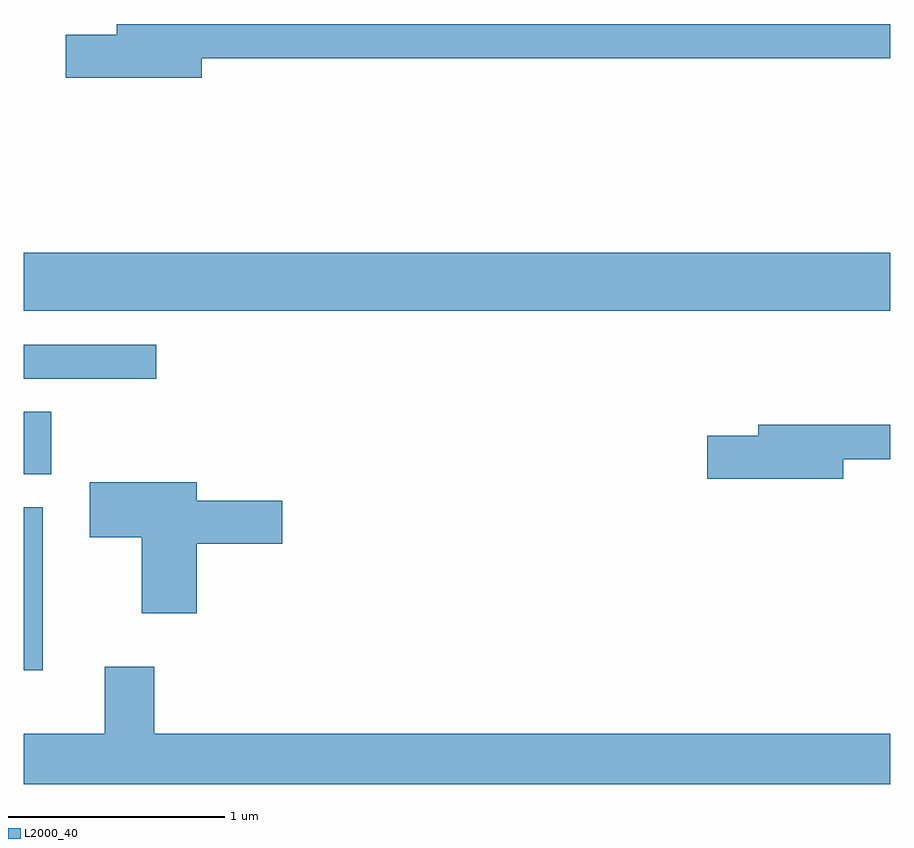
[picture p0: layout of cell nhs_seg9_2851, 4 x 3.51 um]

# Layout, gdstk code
import gdstk
lib = gdstk.Library(unit=1e-6, precision=1e-09)
def R(c, l, rs):  # rectangles x0, y0, x1, y1
    for r in rs: c.add(gdstk.rectangle(r[:2], r[2:], *l))
def P(c, l, *ps):  # polygons
    for p in ps: c.add(gdstk.Polygon(p, *l))
L2000_40 = (2000, 40)

nhs_seg9_2851 = lib.new_cell('nhs_seg9_2851')
R(nhs_seg9_2851, L2000_40, [(267.611,2078.956,267.699,2079.709), (267.611,2079.861,267.739,2080.149), (267.611,2080.301,268.223,2080.459), (267.611,2080.616,271.611,2080.884)])
P(nhs_seg9_2851, L2000_40, [(268.434,2081.781),(271.611,2081.781),(271.611,2081.939),(268.041,2081.939),(268.041,2081.889),(267.806,2081.889),(267.806,2081.691),(268.434,2081.691)],
  [(271.394,2079.931),(271.611,2079.931),(271.611,2080.089),(271.001,2080.089),(271.001,2080.039),(270.766,2080.039),(270.766,2079.841),(271.394,2079.841)],
  [(268.409,2079.541),(268.804,2079.541),(268.804,2079.739),(268.409,2079.739),(268.409,2079.824),(267.916,2079.824),(267.916,2079.571),(268.156,2079.571),(268.156,2079.221),(268.409,2079.221)],
  [(271.611,2078.664),(268.214,2078.664),(268.214,2078.974),(267.986,2078.974),(267.986,2078.664),(267.611,2078.664),(267.611,2078.432),(271.611,2078.432)])

lib.write_gds('nhs_seg9_2851.gds')
